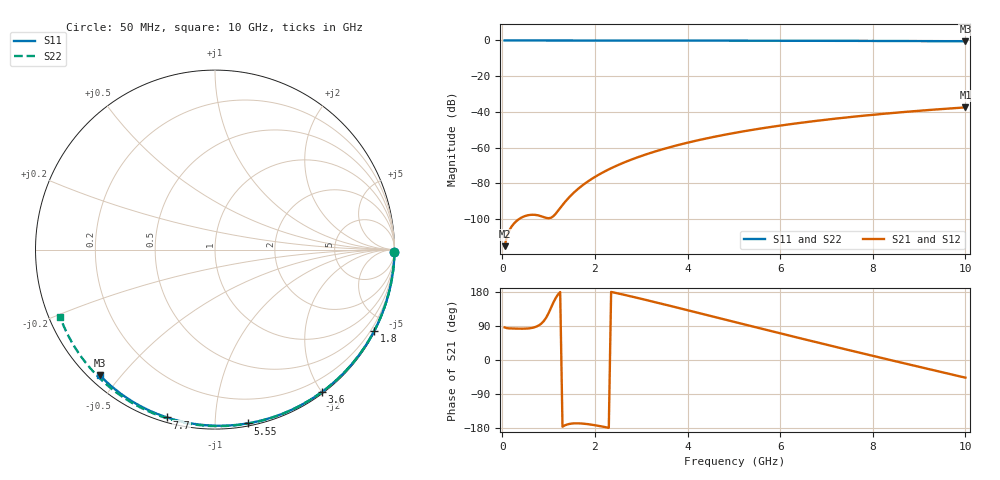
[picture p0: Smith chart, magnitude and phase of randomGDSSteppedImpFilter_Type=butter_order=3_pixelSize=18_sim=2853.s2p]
! freq	dB(S11)	phase(S11)	dB(S12)	phase(S12)
!  dB(S21)	phase(S21)	dB(S22)	phase(S22)
!S-par simulation data
#  GHz  S  DB  R 50
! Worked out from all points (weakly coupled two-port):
!   200 points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, 50 MHz to 10 GHz, reference 50 ohm
!   highest |S21| = -37.50 dB at 10 GHz (marker M1); lowest = -115.2 dB at 50 MHz (marker M2)
!   lowest |S11| = -0.4 dB at 10 GHz (marker M3), VSWR 38.83, Z = 1.54 - j22 ohm
!   |S11| at or under -10 dB: nowhere
!   |S22| runs from -0.5 to 0.0 dB; largest |S21 - S12| = 0
!   S11 on the Smith chart (normalised r, x): 50 MHz: open; 1.8 GHz: 0.04, -4.13; 3.6 GHz: 0.02, -2.00; 5.55 GHz: 0.02, -1.20; 7.7 GHz: 0.02, -0.75; 10 GHz: 0.03, -0.44
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0.05  -0.00 -0.8  -115.25 86.0  -115.25 86.0  -0.00 -0.9
0.45  -0.01 -6.9  -98.79 82.6  -98.79 82.6  -0.01 -8.2
0.9  -0.02 -13.7  -99.01 103.4  -99.01 103.4  -0.02 -16.2
1.3  -0.02 -19.7  -92.19 -175.9  -92.19 -175.9  -0.03 -23.3
1.75  -0.03 -26.5  -80.81 -168.0  -80.81 -168.0  -0.04 -31.2
1.8  -0.03 -27.2  -79.86 -168.6  -79.86 -168.6  -0.04 -32.1
1.95  -0.04 -29.4  -77.26 -171.1  -77.26 -171.1  -0.04 -34.7
2.1  -0.04 -31.6  -74.95 -174.2  -74.95 -174.2  -0.05 -37.3
2.3  -0.04 -34.6  -72.22 -179.1  -72.22 -179.1  -0.05 -40.7
2.5  -0.05 -37.5  -69.80 175.7  -69.80 175.7  -0.06 -44.2
2.9  -0.06 -43.3  -65.66 164.4  -65.66 164.4  -0.07 -50.9
3.4  -0.07 -50.4  -61.43 149.6  -61.43 149.6  -0.08 -59.2
3.6  -0.07 -53.2  -59.95 143.6  -59.95 143.6  -0.08 -62.5
4.3  -0.09 -62.8  -55.49 122.3  -55.49 122.3  -0.10 -73.7
5.05  -0.11 -72.9  -51.63 99.3  -51.63 99.3  -0.13 -85.4
5.55  -0.13 -79.4  -49.45 84.1  -49.45 84.1  -0.15 -92.9
6.1  -0.15 -86.4  -47.33 67.4  -47.33 67.4  -0.18 -101.1
6.7  -0.18 -93.9  -45.30 49.4  -45.30 49.4  -0.21 -109.8
7.7  -0.24 -106.0  -42.41 19.7  -42.41 19.7  -0.29 -124.0
8.35  -0.29 -113.6  -40.81 0.8  -40.81 0.8  -0.34 -133.1
9.2  -0.36 -123.4  -38.99 -23.7  -38.99 -23.7  -0.43 -145.0
10  -0.45 -132.6  -37.50 -46.6  -37.50 -46.6  -0.52 -156.4
